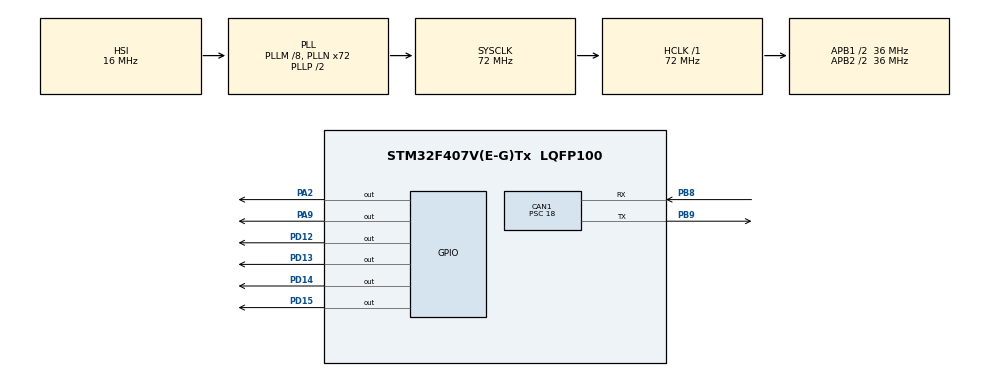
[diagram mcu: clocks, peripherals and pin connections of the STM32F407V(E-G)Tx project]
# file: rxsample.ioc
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CAN1.BS1=CAN_BS1_2TQ
CAN1.CalculateBaudRate=500000
CAN1.CalculateTimeBit=2000
CAN1.CalculateTimeQuantum=500.0
CAN1.Prescaler=18
Mcu.Family=STM32F4
Mcu.Name=STM32F407V(E-G)Tx
Mcu.Package=LQFP100
NVIC.CAN1_RX0_IRQn=true\:0\:0\:false\:false\:true\:true\:true\:true
NVIC.PriorityGroup=NVIC_PRIORITYGROUP_0
PA2.Signal=GPIO_Output
PA9.Signal=GPIO_Output
PB8.Mode=CAN_Activate
PB8.Signal=CAN1_RX
PB9.Mode=CAN_Activate
PB9.Signal=CAN1_TX
PD12.Signal=GPIO_Output
PD13.Signal=GPIO_Output
PD14.Signal=GPIO_Output
PD15.Signal=GPIO_Output
ProjectManager.HeapSize=0x200
ProjectManager.StackSize=0x400
ProjectManager.TargetToolchain=STM32CubeIDE
RCC.48MHZClocksFreq_Value=20571428.57142857
RCC.AHBFreq_Value=72000000
RCC.APB1CLKDivider=RCC_HCLK_DIV2
RCC.APB1Freq_Value=36000000
RCC.APB1TimFreq_Value=72000000
RCC.APB2CLKDivider=RCC_HCLK_DIV2
RCC.APB2Freq_Value=36000000
RCC.APB2TimFreq_Value=72000000
RCC.CortexFreq_Value=72000000
RCC.HCLKFreq_Value=72000000
RCC.HSE_VALUE=8000000
RCC.HSI_VALUE=16000000
RCC.LSE_VALUE=32768
RCC.PLLM=8
RCC.PLLN=72
RCC.PLLQ=7
RCC.SYSCLKFreq_VALUE=72000000
RCC.SYSCLKSource=RCC_SYSCLKSOURCE_PLLCLK
RCC.VCOOutputFreq_Value=144000000
board=STM32F407G-DISC1

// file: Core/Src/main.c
/* USER CODE BEGIN Header */
/**
  ******************************************************************************
  * @file           : main.c
  * @brief          : Main program body
  ******************************************************************************
  * @attention
  *
  * Copyright (c) 2023 STMicroelectronics.
  * All rights reserved.
  *
  * This software is licensed under terms that can be found in the LICENSE file
  * in the root directory of this software component.
  * If no LICENSE file comes with this software, it is provided AS-IS.
  *
  ******************************************************************************
  */
/* USER CODE END Header */
#include "main.h"

/* USER CODE BEGIN Includes */
#include<stdio.h>
/* USER CODE END Includes */

CAN_HandleTypeDef hcan1;

void SystemClock_Config(void);
static void MX_GPIO_Init(void);
static void MX_CAN1_Init(void);

/* USER CODE BEGIN 0 */
CAN_RxHeaderTypeDef RxHeader;
uint8_t RxData[4];

void HAL_CAN_RxFifo0MsgPendingCallback(CAN_HandleTypeDef *hcan){

	HAL_GPIO_WritePin(GPIOD, GPIO_PIN_15, GPIO_PIN_SET); // blue
	HAL_CAN_GetRxMessage(&hcan1, CAN_RX_FIFO0, &RxHeader, RxData);
}
/* USER CODE END 0 */

int main(void)
{

  /* MCU Configuration--------------------------------------------------------*/

  /* Reset of all peripherals, Initializes the Flash interface and the Systick. */
  HAL_Init();

  /* Configure the system clock */
  SystemClock_Config();

  /* Initialize all configured peripherals */
  MX_GPIO_Init();
  MX_CAN1_Init();
  /* USER CODE BEGIN 2 */
  HAL_CAN_Start(&hcan1);
  HAL_CAN_ActivateNotification(&hcan1, CAN_IT_RX_FIFO0_MSG_PENDING);
  HAL_Delay(100);
  HAL_Delay(100);
  /* USER CODE END 2 */

  /* Infinite loop */
  /* USER CODE BEGIN WHILE */
  while (1)
  {
	  		/*if(RxData[0] == 'S'){
	  			HAL_GPIO_WritePin(GPIOD, GPIO_PIN_14, GPIO_PIN_SET); //
	  		}
	  		else if (RxData[1] == 29)
	  		{
	  			HAL_GPIO_WritePin(GPIOD, GPIO_PIN_12, GPIO_PIN_SET);
	  		}*/
//	  if(RxData[0]>25 && RxData[1]<20)
//	  {
//		  HAL_GPIO_WritePin(GPIOA, GPIO_PIN_2, GPIO_PIN_SET);
//		  HAL_GPIO_WritePin(GPIOD, GPIO_PIN_12, GPIO_PIN_SET);
//		  HAL_Delay(1000);
//		  HAL_GPIO_WritePin(GPIOA, GPIO_PIN_2, GPIO_PIN_RESET);
//		  HAL_GPIO_WritePin(GPIOD, GPIO_PIN_12, GPIO_PIN_RESET);
//	  }
	  if(RxData[0]==26)
	  {
		  //HAL_GPIO_WritePin(GPIOD, GPIO_PIN_14, GPIO_PIN_SET);
		  HAL_GPIO_TogglePin(GPIOD, GPIO_PIN_14);
	  }
	  else if(RxData[1]<20)
	  {
		  HAL_GPIO_TogglePin(GPIOD, GPIO_PIN_13);
		  HAL_GPIO_WritePin(GPIOA, GPIO_PIN_2, GPIO_PIN_SET);
//		  HAL_GPIO_WritePin(GPIOD, GPIO_PIN_12, GPIO_PIN_SET);
//				  HAL_Delay(1000);
//		 HAL_GPIO_WritePin(GPIOD, GPIO_PIN_12, GPIO_PIN_RESET);
	  }

    /* USER CODE END WHILE */

  }
}

void SystemClock_Config(void)
{
  RCC_OscInitTypeDef RCC_OscInitStruct = {0};
  RCC_ClkInitTypeDef RCC_ClkInitStruct = {0};

  /** Configure the main internal regulator output voltage
  */
  __HAL_RCC_PWR_CLK_ENABLE();
  __HAL_PWR_VOLTAGESCALING_CONFIG(PWR_REGULATOR_VOLTAGE_SCALE1);

  /** Initializes the RCC Oscillators according to the specified parameters
  * in the RCC_OscInitTypeDef structure.
  */
  RCC_OscInitStruct.OscillatorType = RCC_OSCILLATORTYPE_HSI;
  RCC_OscInitStruct.HSIState = RCC_HSI_ON;
  RCC_OscInitStruct.HSICalibrationValue = RCC_HSICALIBRATION_DEFAULT;
  RCC_OscInitStruct.PLL.PLLState = RCC_PLL_ON;
  RCC_OscInitStruct.PLL.PLLSource = RCC_PLLSOURCE_HSI;
  RCC_OscInitStruct.PLL.PLLM = 8;
  RCC_OscInitStruct.PLL.PLLN = 72;
  RCC_OscInitStruct.PLL.PLLP = RCC_PLLP_DIV2;
  RCC_OscInitStruct.PLL.PLLQ = 7;
  if (HAL_RCC_OscConfig(&RCC_OscInitStruct) != HAL_OK)
  {
    Error_Handler();
  }

  /** Initializes the CPU, AHB and APB buses clocks
  */
  RCC_ClkInitStruct.ClockType = RCC_CLOCKTYPE_HCLK|RCC_CLOCKTYPE_SYSCLK
                              |RCC_CLOCKTYPE_PCLK1|RCC_CLOCKTYPE_PCLK2;
  RCC_ClkInitStruct.SYSCLKSource = RCC_SYSCLKSOURCE_PLLCLK;
  RCC_ClkInitStruct.AHBCLKDivider = RCC_SYSCLK_DIV1;
  RCC_ClkInitStruct.APB1CLKDivider = RCC_HCLK_DIV2;
  RCC_ClkInitStruct.APB2CLKDivider = RCC_HCLK_DIV2;

  if (HAL_RCC_ClockConfig(&RCC_ClkInitStruct, FLASH_LATENCY_2) != HAL_OK)
  {
    Error_Handler();
  }
}

static void MX_CAN1_Init(void)
{

  hcan1.Instance = CAN1;
  hcan1.Init.Prescaler = 18;
  hcan1.Init.Mode = CAN_MODE_NORMAL;
  hcan1.Init.SyncJumpWidth = CAN_SJW_1TQ;
  hcan1.Init.TimeSeg1 = CAN_BS1_2TQ;
  hcan1.Init.TimeSeg2 = CAN_BS2_1TQ;
  hcan1.Init.TimeTriggeredMode = DISABLE;
  hcan1.Init.AutoBusOff = DISABLE;
  hcan1.Init.AutoWakeUp = DISABLE;
  hcan1.Init.AutoRetransmission = DISABLE;
  hcan1.Init.ReceiveFifoLocked = DISABLE;
  hcan1.Init.TransmitFifoPriority = DISABLE;
  if (HAL_CAN_Init(&hcan1) != HAL_OK)
  {
    Error_Handler();
  }
  /* USER CODE BEGIN CAN1_Init 2 */
  CAN_FilterTypeDef canFilterConfig;
  canFilterConfig.FilterActivation=CAN_FILTER_ENABLE;
  canFilterConfig.SlaveStartFilterBank=14;
  canFilterConfig.FilterBank=2;
  canFilterConfig.FilterFIFOAssignment=CAN_RX_FIFO0;
  canFilterConfig.FilterScale=CAN_FILTERSCALE_32BIT;
  canFilterConfig.FilterMode=CAN_FILTERMODE_IDMASK;
  canFilterConfig.FilterMaskIdLow=0x0000;
  canFilterConfig.FilterMaskIdHigh=0xFF00;
  canFilterConfig.FilterIdLow=0x0000;
  canFilterConfig.FilterIdHigh=0x1500;
  HAL_CAN_ConfigFilter(&hcan1, &canFilterConfig);
  /* USER CODE END CAN1_Init 2 */

}

static void MX_GPIO_Init(void)
{
  GPIO_InitTypeDef GPIO_InitStruct = {0};

  /* GPIO Ports Clock Enable */
  __HAL_RCC_GPIOA_CLK_ENABLE();
  __HAL_RCC_GPIOD_CLK_ENABLE();
  __HAL_RCC_GPIOB_CLK_ENABLE();

  /*Configure GPIO pin Output Level */
  HAL_GPIO_WritePin(GPIOA, GPIO_PIN_2|GPIO_PIN_9, GPIO_PIN_RESET);

  /*Configure GPIO pin Output Level */
  HAL_GPIO_WritePin(GPIOD, GPIO_PIN_12|GPIO_PIN_13|GPIO_PIN_14|GPIO_PIN_15, GPIO_PIN_RESET);

  /*Configure GPIO pins : PA2 PA9 */
  GPIO_InitStruct.Pin = GPIO_PIN_2|GPIO_PIN_9;
  GPIO_InitStruct.Mode = GPIO_MODE_OUTPUT_PP;
  GPIO_InitStruct.Pull = GPIO_NOPULL;
  GPIO_InitStruct.Speed = GPIO_SPEED_FREQ_LOW;
  HAL_GPIO_Init(GPIOA, &GPIO_InitStruct);

  /*Configure GPIO pins : PD12 PD13 PD14 PD15 */
  GPIO_InitStruct.Pin = GPIO_PIN_12|GPIO_PIN_13|GPIO_PIN_14|GPIO_PIN_15;
  GPIO_InitStruct.Mode = GPIO_MODE_OUTPUT_PP;
  GPIO_InitStruct.Pull = GPIO_NOPULL;
  GPIO_InitStruct.Speed = GPIO_SPEED_FREQ_LOW;
  HAL_GPIO_Init(GPIOD, &GPIO_InitStruct);

}

void Error_Handler(void)
{
  __disable_irq();
  while (1)
  {
  }
}
